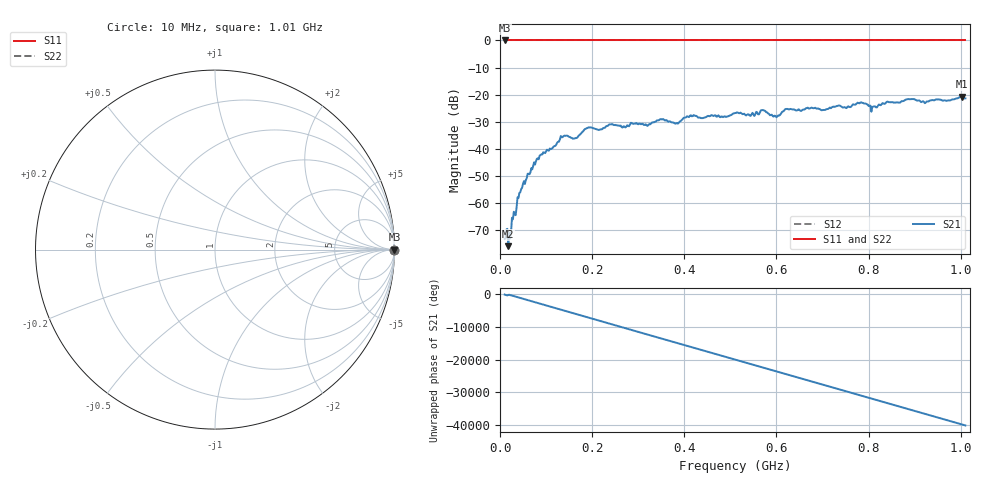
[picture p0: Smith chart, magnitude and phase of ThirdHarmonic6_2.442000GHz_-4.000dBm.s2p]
! 8/17/2025 4:18:08 AM
! C:\ANRITSUVNA\TEMP\TEMP.S2P
! CHANNEL.1
! TR.MEASUREMENT
! RAW.DATA
! RF.CORRECTION.OFF
! AVERAGING.OFF
! IF.BANDWIDTH: 5KHZ
! SWEEPTYPE:  FREQ.SWEEP(Linear)
! Reference Plane Port Info
! PORT:  PORT1  PORT2
! DISTANCE:  0  m  0  m
! TIME:  0  s  0  s
! PHASE.OFFSET:  0  deg.  0  deg.
! LOSS:  0  dB  0  dB
! REF.LOSS:  0  dB  0  dB
! REF.FREQ:  0  Hz  0  Hz
! Power Info
! POWER:  -20  dBm  -20  dBm
! EFF.POWER:  -20  dBm  -20  dBm
! SOURCE.ATTEN:  0  dB  0  dB
! TEST.ATTEN:  0  dB  0  dB
# GHZ S RI R 50.0
! FREQ.GHZ  S11RE  S11IM  S21RE  S21IM  S12RE  S12IM  S22RE  S22IM
!; PortSelection: Port_12
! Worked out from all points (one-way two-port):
!   501 points, 10 MHz to 1.01 GHz, reference 50 ohm
!   highest |S21| = -20.71 dB at 1.002 GHz (marker M1); lowest = -75.8 dB at 18 MHz (marker M2)
!   lowest |S11| = 0.0 dB at 10 MHz (marker M3)
!   |S11| at or under -10 dB: nowhere
!   |S22| runs from 0.0 to 0.0 dB; largest |S21 - S12| = 1.1
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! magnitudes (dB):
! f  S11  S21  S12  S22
! 10 MHz  0.0  -73.2  0.0  0.0
! 18 MHz  0.0  -75.8  0.0  0.0
! 22 MHz  0.0  -73.0  0.0  0.0
! 42 MHz  0.0  -56.3  0.0  0.0
! 78 MHz  0.0  -44.6  0.0  0.0
! 136 MHz  0.0  -35.6  0.0  0.0
! 162 MHz  0.0  -36.1  0.0  0.0
! 178 MHz  0.0  -33.8  0.0  0.0
! 194 MHz  0.0  -32.1  0.0  0.0
! 344 MHz  0.0  -29.5  0.0  0.0
! 384 MHz  0.0  -30.4  0.0  0.0
! 410 MHz  0.0  -28.2  0.0  0.0
! 510 MHz  0.0  -26.8  0.0  0.0
! 570 MHz  0.0  -25.7  0.0  0.0
! 598 MHz  0.0  -27.9  0.0  0.0
! 622 MHz  0.0  -25.2  0.0  0.0
! 678 MHz  0.0  -24.9  0.0  0.0
! 780 MHz  0.0  -23.2  0.0  0.0
! 810 MHz  0.0  -24.4  0.0  0.0
! 844 MHz  0.0  -22.8  0.0  0.0
! 1.002 GHz  0.0  -20.7  0.0  0.0
! 1.01 GHz  0.0  -21.3  0.0  0.0
